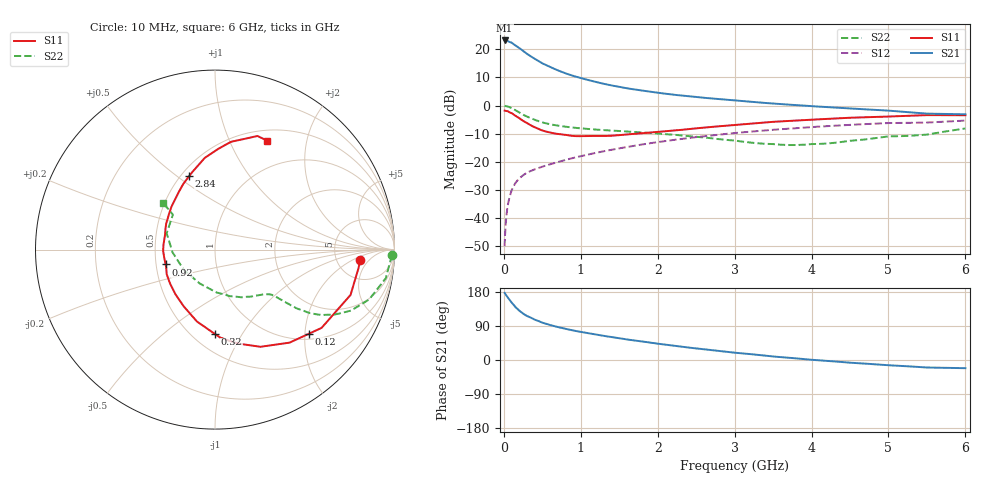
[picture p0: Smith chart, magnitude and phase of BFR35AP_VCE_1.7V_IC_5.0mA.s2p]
! Infineon Technologies  Discrete & RF Semiconductors
! BFR35AP
! VCE =  1.7 V,  IC =  5.0 mA
! Common Emitter S-Parameters:  Nov 2015
# GHz  S  MA  R  50
!  f  S11  S21  S12  S22
! GHz  MAG  ANG  MAG  ANG  MAG  ANG  MAG  ANG
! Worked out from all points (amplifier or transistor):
!   210 points, 10 MHz to 6 GHz, reference 50 ohm
!   highest |S21| = 23.1 dB at 10 MHz (marker M1)
!   |S21| within 3 dB of that: start of sweep to 216.5 MHz
!   unconditionally stable (mu >= 1): 759 MHz to 4.271 GHz; 5.152 GHz to end of sweep
!   at 185 MHz: K = 0.39, MSG = 23.5 dB, |S12| = -26.3 dB
!   at 1.52 GHz: K = 1.15, MAG = 8.5 dB, |S12| = -15.1 dB
!   at 6 GHz: K = 1.00, MAG = 0.9 dB, |S12| = -5.3 dB
!   S11 on the Smith chart (normalised r, x): 10 MHz: 8.73, -2.84; 120 MHz: 1.13, -2.09; 320 MHz: 0.64, -0.77; 920 MHz: 0.56, -0.10; 2.84 GHz: 0.55, +0.55; 6 GHz: 0.63, +1.40
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0.01  0.8125 -3.9  14.26 177.1  0.0032 87.6  0.9889 -1.9
0.025  0.8021 -9.4  13.97 172.4  0.0081 85.0  0.9758 -4.7
0.05  0.7963 -18.5  13.9 165.3  0.0167 80.6  0.965 -9.5
0.1  0.7367 -36.3  13.08 151.8  0.031 72.4  0.9028 -17.9
0.12  0.7021 -41.9  12.45 147.3  0.0354 68.6  0.8724 -20.3
0.15  0.6643 -51.3  11.67 139.7  0.0422 64.5  0.8299 -24.2
0.2  0.5974 -65.0  10.51 130.3  0.0509 60.7  0.7557 -28.7
0.26  0.5253 -78.9  9.103 121.1  0.0592 57.1  0.6771 -32.3
0.3  0.49 -86.8  8.266 116.2  0.0644 55.8  0.6362 -33.8
0.32  0.4715 -89.8  7.948 114.6  0.0663 55.3  0.6204 -34.2
0.4  0.4131 -104.1  6.753 106.6  0.0737 53.5  0.5573 -35.8
0.5  0.3612 -118.8  5.608 98.5  0.0822 53.3  0.5012 -36.6
0.7  0.3137 -143.0  4.212 87.0  0.0993 54.3  0.4399 -37.5
0.92  0.2872 -163.2  3.299 77.2  0.1192 54.8  0.4033 -38.6
1.02  0.2866 -172.7  3.017 73.4  0.1282 55.1  0.3916 -39.5
1.4  0.2911 162.6  2.269 60.5  0.1641 54.6  0.3602 -44.4
2.02  0.3429 134.3  1.673 42.6  0.2263 50.9  0.3163 -56.2
2.84  0.4332 109.6  1.286 22.9  0.3094 42.7  0.2496 -81.1
3.1  0.4623 104.0  1.199 17.5  0.3342 39.4  0.229 -92.5
4.1  0.5697 86.8  0.956 -0.8  0.423 26.6  0.2084 -153.4
5.1  0.6448 74.0  0.793 -14.9  0.4898 12.8  0.285 157.0
6  0.673 64.3  0.699 -21.6  0.5405 2.8  0.3914 137.9
